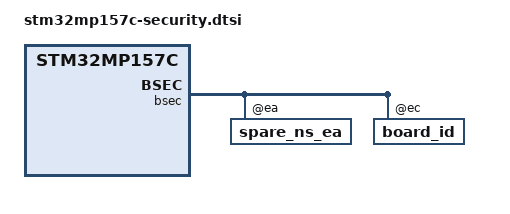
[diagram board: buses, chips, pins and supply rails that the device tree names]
/*
 * Copyright : STMicroelectronics 2017
 *
 * SPDX-License-Identifier:	GPL-2.0+	BSD-3-Clause
 */

#include <dt-bindings/soc/st,stm32-etzpc.h>

/ {
	soc {
		iwdg1: iwdg@5C003000 {
			compatible = "st,stm32mp1-iwdg";
			reg = <0x5C003000 0x400>;
			clocks = <&rcc IWDG1>, <&rcc CK_LSI>;
			clock-names = "pclk", "lsi";
			interrupts = <GIC_SPI 150 IRQ_TYPE_LEVEL_HIGH>;
			status = "disabled";
			secure-status = "disabled";
		};

		etzpc: etzpc@5C007000 {
			compatible = "st,stm32-etzpc";
			reg = <0x5C007000 0x400>;
			clocks = <&rcc TZPC>;
			status = "disabled";
			secure-status = "okay";
		};

		stgen: stgen@5C008000 {
			compatible = "st,stm32-stgen";
			reg = <0x5C008000 0x1000>;
		};
	};
};

&bsec {
	mac_addr: mac_addr@e4 {
		reg = <0xe4 0x6>;
	};
	/* Spare field to align on 32-bit OTP granularity  */
	spare_ns_ea: spare_ns_ea@ea {
		reg = <0xea 0x2>;
	};
	board_id: board_id@ec {
		reg = <0xec 0x4>;
	};
};

&iwdg2 {
	secure-interrupts = <GIC_SPI 151 IRQ_TYPE_LEVEL_HIGH>;
};

&rcc {
	secure-interrupts = <GIC_SPI 145 IRQ_TYPE_LEVEL_HIGH>;
	interrupt-names = "wakeup";
};

&sdmmc1 {
	compatible = "st,stm32-sdmmc2";
};

&sdmmc2 {
	compatible = "st,stm32-sdmmc2";
};

&tamp {
	compatible = "st,stm32-tamp";
	clocks = <&rcc RTCAPB>;
	interrupts = <GIC_SPI 197 IRQ_TYPE_LEVEL_HIGH>;
	secure-status= "disabled";
};
